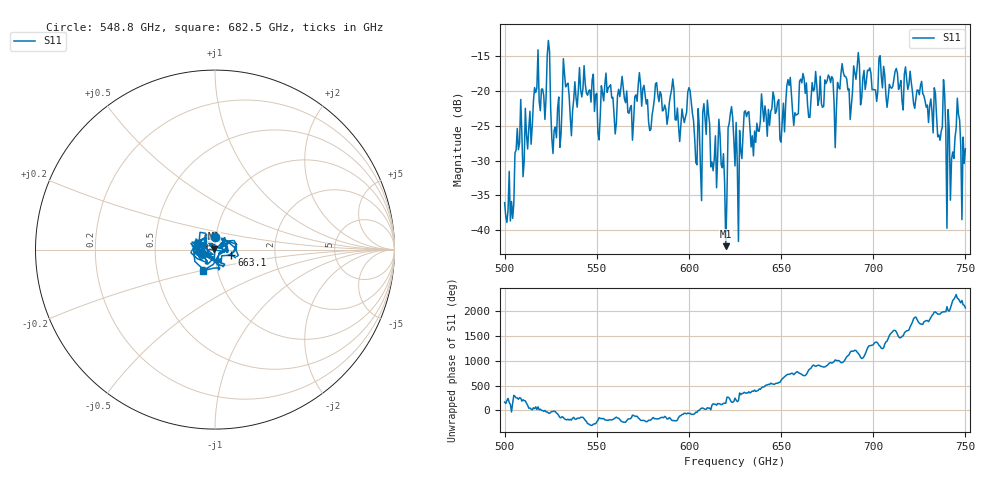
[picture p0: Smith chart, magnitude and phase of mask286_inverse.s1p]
!Created with skrf (http://scikit-rf.org).
# GHz S MA R 50.0
!freq magS11 angS11
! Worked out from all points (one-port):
!   401 points, 500 GHz to 750 GHz, reference 50 ohm
!   lowest |S11| = -42.3 dB at 620 GHz (marker M1), VSWR 1.02, Z = 49.4 + j0.464 ohm
!   |S11| at or under -10 dB: start of sweep to end of sweep
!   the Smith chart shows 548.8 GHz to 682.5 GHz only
!   S11 on the Smith chart (normalised r, x): 548.8 GHz: 0.99, +0.14; 663.1 GHz: 1.20, -0.07; 682.5 GHz: 0.86, -0.20
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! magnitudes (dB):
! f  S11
! 500 GHz  -36.0
! 516.9 GHz  -20.2
! 523.8 GHz  -12.8
! 526.9 GHz  -25.6
! 531.2 GHz  -21.6
! 548.8 GHz  -22.9
! 562.5 GHz  -20.8
! 590.6 GHz  -19.8
! 593.8 GHz  -22.4
! 600.6 GHz  -19.9
! 605.6 GHz  -25.2
! 609.4 GHz  -26.2
! 620 GHz  -42.3
! 622.5 GHz  -23.2
! 625 GHz  -30.8
! 627.5 GHz  -25.7
! 631.2 GHz  -23.7
! 635 GHz  -29.3
! 656.2 GHz  -23.0
! 663.1 GHz  -20.3
! 682.5 GHz  -17.5
! 687.5 GHz  -24.1
! 690.6 GHz  -18.3
! 718.8 GHz  -19.8
! 738.1 GHz  -18.4
! 741.2 GHz  -25.6
! 745.6 GHz  -21.0
! 750 GHz  -28.3
